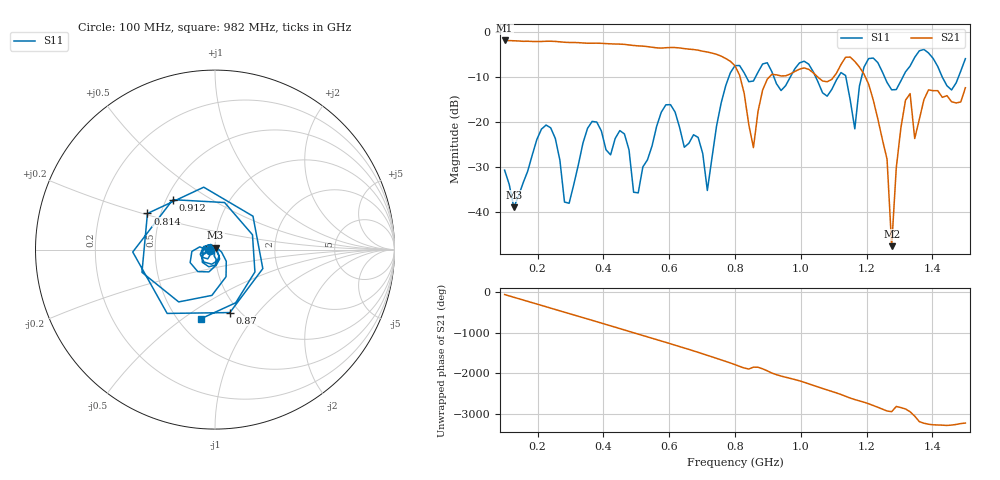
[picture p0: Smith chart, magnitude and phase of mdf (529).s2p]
! NanoVNA-App
! Date: 2025-09-25 15:42:32
! Start: 100MHz Stop: 1,5GHz Points: 101
! S-Parameter data: F S11 S21 S12 S22
# Hz S RI R 50
!  Frequency  S11_Real  S11_Imag  S21_Real  S21_Imag  S12_Real  S12_Imag  S22_Real  S22_Imag
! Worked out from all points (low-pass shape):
!   101 points, 100 MHz to 1.5 GHz, reference 50 ohm
!   highest |S21| = -1.80 dB at 100 MHz (marker M1); lowest = -47.7 dB at 1.276 GHz (marker M2)
!   |S21| within 3 dB of the highest: start of sweep to 739.3 MHz
!   lowest |S11| = -39.0 dB at 128 MHz (marker M3), VSWR 1.02, Z = 50.3 + j1.07 ohm
!   |S11| at or under -10 dB: start of sweep to 781.1 MHz; 1.045 GHz to 1.113 GHz (67.89 MHz wide, 6.29 % of centre); 1.255 GHz to 1.31 GHz (54.87 MHz wide, 4.28 % of centre) (the widest 3 of 7)
!   S12 and S22 are empty: the file has one direction only
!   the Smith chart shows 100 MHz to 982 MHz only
!   S11 on the Smith chart (normalised r, x): 100 MHz: 0.94, -0.01; 814 MHz: 0.42, +0.21; 870 MHz: 0.90, -0.73; 912 MHz: 0.54, +0.35; 982 MHz: 0.64, -0.59
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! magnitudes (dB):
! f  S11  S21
! 100 MHz  -30.7  -1.8
! 128 MHz  -39.0  -1.9
! 212 MHz  -21.6  -2.0
! 282 MHz  -37.9  -2.2
! 338 MHz  -24.7  -2.4
! 464 MHz  -22.6  -2.7
! 506 MHz  -35.8  -3.0
! 576 MHz  -17.8  -3.5
! 716 MHz  -35.3  -4.4
! 800 MHz  -7.4  -7.5
! 814 MHz  -7.4  -9.6
! 856 MHz  -10.9  -25.7
! 870 MHz  -8.9  -17.6
! 912 MHz  -8.8  -9.4
! 982 MHz  -8.1  -8.7
! 1.038 GHz  -8.8  -9.0
! 1.164 GHz  -21.5  -6.5
! 1.206 GHz  -5.8  -11.5
! 1.262 GHz  -11.2  -28.3
! 1.276 GHz  -12.8  -47.7
! 1.318 GHz  -8.8  -15.1
! 1.5 GHz  -5.9  -12.4
